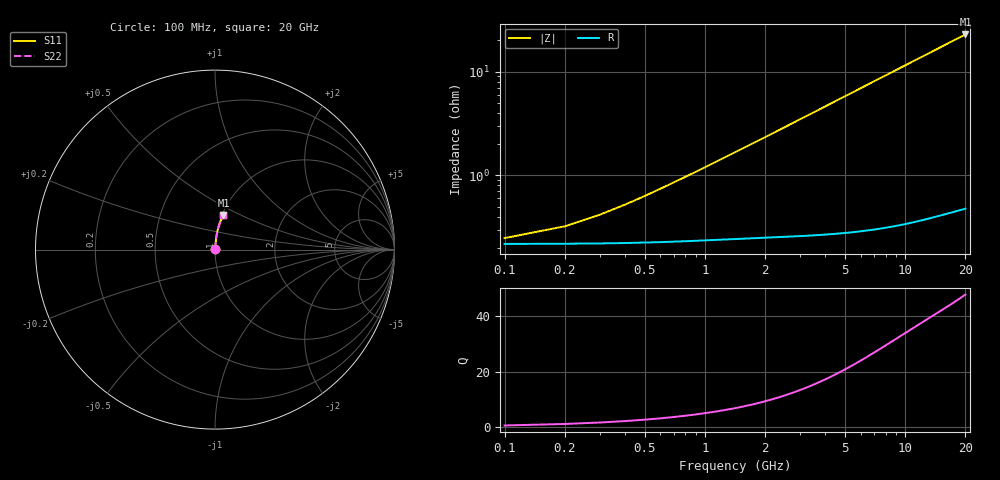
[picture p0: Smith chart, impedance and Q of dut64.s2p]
! Touchstone file exported from HFSS 2024.1.0
!  File:  C:/UserFiles/LocalFiles/RDL_TSV_Batchsim/temp_RDL_top_64_1778681830.aedt
!  Generated:  10:19:37 PM May 13, 2026
!  Design:  RDL_top
!  Project:  temp_RDL_top_64_1778681830
!  Setup:  Setup1
!  Solution:  Sweep
! Variables:
!  dtsv = 10.80580581um
!  hbump = 3um
!  htsv = 61.07um
!  ldown = 100um
!  lrdl = 130.73um
!  p = 40
!  p1 = 45.13um
!  rhole = 1um
!  t = 450um
!  tdown = 3.915915916um
!  trdl = 2.36um
!  wdown = 15.38538539um
!  wrdl = 10.15um
# GHz S MA R 50.000000
! Terminal data exported
! Port[1] = Box2_T1
! Port[2] = Box2_T2
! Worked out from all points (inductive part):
!   200 points, 100 MHz to 20 GHz, reference 50 ohm
!   read as one part in series: L = 187 pH near 600 MHz
!   highest Q = 47.8 at 20 GHz (marker M1), where L = 181 pH
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0.1  0.002405 25.1  0.9978 -0.1  0.9978 -0.1  0.002405 25.1
! Gamma 0 0 0 0
! Port Impedance 50 0 50 0
0.3  0.003771 54.2  0.9978 -0.2  0.9978 -0.2  0.003771 54.2
0.4  0.004641 61.2  0.9978 -0.3  0.9978 -0.3  0.004641 61.2
0.5  0.005557 66.0  0.9977 -0.4  0.9977 -0.4  0.005557 66.0
0.6  0.006496 69.3  0.9977 -0.5  0.9977 -0.5  0.006496 69.3
0.7  0.007449 71.8  0.9977 -0.5  0.9977 -0.5  0.007449 71.8
0.9  0.009374 75.2  0.9976 -0.7  0.9976 -0.7  0.009374 75.2
1.2  0.01228 78.3  0.9975 -0.9  0.9975 -0.9  0.01228 78.3
1.4  0.01423 79.6  0.9974 -1.1  0.9974 -1.1  0.01423 79.6
1.7  0.01716 81.0  0.9972 -1.3  0.9972 -1.3  0.01716 81.0
2.2  0.02207 82.5  0.997 -1.7  0.997 -1.7  0.02207 82.5
2.8  0.02798 83.5  0.9966 -2.1  0.9966 -2.1  0.02798 83.5
3.5  0.03491 84.1  0.9961 -2.6  0.9961 -2.6  0.03491 84.1
4.2  0.04187 84.4  0.9956 -3.1  0.9956 -3.1  0.04187 84.4
5  0.04986 84.5  0.9948 -3.7  0.9948 -3.7  0.04986 84.5
5.9  0.05888 84.4  0.9938 -4.4  0.9938 -4.4  0.05888 84.4
6.8  0.06792 84.1  0.9927 -5.0  0.9927 -5.0  0.06792 84.1
8.3  0.08305 83.6  0.9907 -6.1  0.9907 -6.1  0.08305 83.6
10.1  0.1012 82.7  0.9879 -7.4  0.9879 -7.4  0.1012 82.7
13.4  0.1344 80.7  0.9822 -9.7  0.9822 -9.7  0.1344 80.7
16.7  0.1671 78.6  0.9755 -11.9  0.9755 -11.9  0.1671 78.6
20  0.1992 76.4  0.9682 -14.2  0.9682 -14.2  0.1992 76.4
